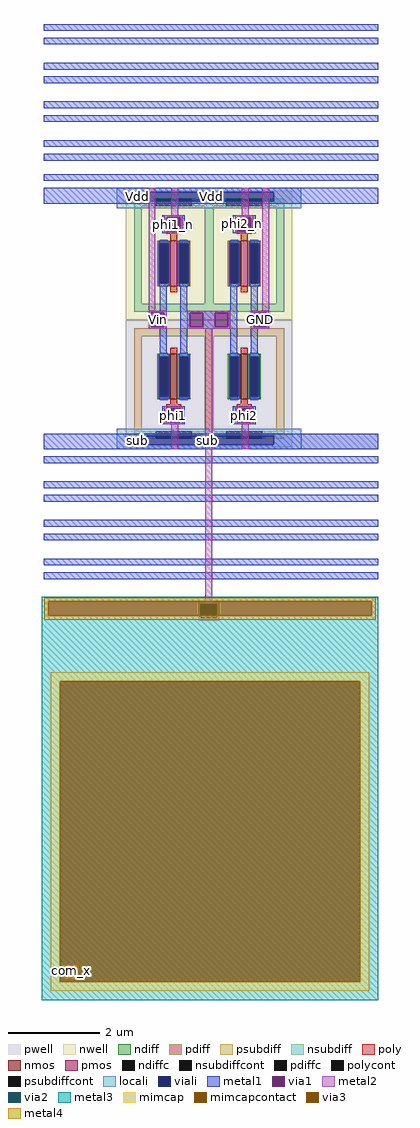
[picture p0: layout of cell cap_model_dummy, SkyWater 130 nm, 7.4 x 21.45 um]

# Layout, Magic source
magic
tech sky130A
magscale 1 2
<< pwell >>
rect 1140 -930 1160 -890
rect 1520 -950 1860 -880
<< locali >>
rect 710 180 1520 200
rect 710 140 840 180
rect 1080 140 1160 180
rect 1400 140 1520 180
rect 710 110 1520 140
rect 710 -890 1520 -860
rect 710 -930 840 -890
rect 1080 -930 1140 -890
rect 1400 -930 1520 -890
rect 710 -950 1520 -930
<< viali >>
rect 840 140 1080 180
rect 1160 140 1400 180
rect 840 -930 1080 -890
rect 1140 -930 1400 -890
<< metal1 >>
rect 390 890 1860 920
rect 390 830 1860 860
rect 390 720 1860 750
rect 390 660 1860 690
rect 390 550 1860 580
rect 390 490 1860 520
rect 390 380 1860 410
rect 390 320 1860 350
rect 390 230 1860 260
rect 390 180 1860 200
rect 390 140 840 180
rect 1080 140 1160 180
rect 1400 140 1860 180
rect 390 130 1860 140
rect 910 70 1010 80
rect 910 10 930 70
rect 990 10 1010 70
rect 910 0 1010 10
rect 1220 70 1320 80
rect 1220 10 1240 70
rect 1300 10 1320 70
rect 1220 0 1320 10
rect 900 -340 930 -220
rect 850 -350 930 -340
rect 850 -410 860 -350
rect 920 -410 930 -350
rect 850 -420 930 -410
rect 900 -540 930 -420
rect 990 -340 1020 -220
rect 1210 -340 1240 -220
rect 990 -350 1240 -340
rect 990 -410 1030 -350
rect 1090 -410 1140 -350
rect 1200 -410 1240 -350
rect 990 -420 1240 -410
rect 990 -540 1020 -420
rect 1210 -540 1240 -420
rect 1300 -340 1330 -220
rect 1300 -350 1380 -340
rect 1300 -410 1310 -350
rect 1370 -410 1380 -350
rect 1300 -420 1380 -410
rect 1300 -540 1330 -420
rect 910 -770 1010 -760
rect 910 -830 930 -770
rect 990 -830 1010 -770
rect 910 -840 1010 -830
rect 1220 -770 1320 -760
rect 1220 -830 1240 -770
rect 1300 -830 1320 -770
rect 1220 -840 1320 -830
rect 390 -890 1860 -880
rect 390 -930 840 -890
rect 1080 -930 1140 -890
rect 1400 -930 1860 -890
rect 390 -950 1860 -930
rect 390 -1010 1860 -980
rect 390 -1120 1860 -1090
rect 390 -1180 1860 -1150
rect 390 -1290 1860 -1260
rect 390 -1350 1860 -1320
rect 390 -1460 1860 -1430
rect 390 -1520 1860 -1490
<< via1 >>
rect 930 10 990 70
rect 1240 10 1300 70
rect 860 -410 920 -350
rect 1030 -410 1090 -350
rect 1140 -410 1200 -350
rect 1310 -410 1370 -350
rect 930 -830 990 -770
rect 1240 -830 1300 -770
<< metal2 >>
rect 850 -340 880 200
rect 950 80 980 200
rect 1260 80 1290 200
rect 920 70 1000 80
rect 920 10 930 70
rect 990 10 1000 70
rect 920 0 1000 10
rect 1230 70 1310 80
rect 1230 10 1240 70
rect 1300 10 1310 70
rect 1230 0 1310 10
rect 1350 -340 1380 200
rect 850 -350 930 -340
rect 850 -410 860 -350
rect 920 -410 930 -350
rect 850 -420 930 -410
rect 1020 -350 1210 -340
rect 1020 -410 1030 -350
rect 1090 -410 1140 -350
rect 1200 -410 1210 -350
rect 1020 -420 1210 -410
rect 1300 -350 1380 -340
rect 1300 -410 1310 -350
rect 1370 -410 1380 -350
rect 1300 -420 1380 -410
rect 920 -770 1000 -760
rect 920 -830 930 -770
rect 990 -830 1000 -770
rect 920 -840 1000 -830
rect 950 -950 980 -840
rect 1100 -1620 1130 -420
rect 1230 -770 1310 -760
rect 1230 -830 1240 -770
rect 1300 -830 1310 -770
rect 1230 -840 1310 -830
rect 1260 -950 1290 -840
rect 1070 -1630 1160 -1620
rect 1070 -1690 1080 -1630
rect 1150 -1690 1160 -1630
rect 1070 -1700 1160 -1690
<< via2 >>
rect 1080 -1690 1150 -1630
<< metal4 >>
rect 471 -3280 541 -3210
use sky130_fd_pr__cap_mim_m3_1_BZXSER  sky130_fd_pr__cap_mim_m3_1_BZXSER_0 /home/imasha
transform 0 1 1120 1 0 -2484
box -886 -740 886 740
use sky130_fd_pr__nfet_01v8_5WU4M2  sky130_fd_pr__nfet_01v8_5WU4M2_0 ~/final
transform -1 0 1271 0 -1 -661
box -211 -279 211 279
use sky130_fd_pr__pfet_01v8_QKK3FL  sky130_fd_pr__pfet_01v8_QKK3FL_0 ~/final
transform -1 0 1271 0 -1 -96
box -211 -284 211 284
use sky130_fd_pr__pfet_01v8_NKK3FE  XM1 ~/final
transform 1 0 961 0 1 -96
box -211 -284 211 284
use sky130_fd_pr__nfet_01v8_5WP7M2  XM2 ~/final
transform 1 0 961 0 1 -661
box -211 -279 211 279
<< labels >>
flabel metal1 770 -940 830 -880 0 FreeSans 256 0 0 0 sub
port 6 nsew
flabel metal1 1080 -940 1140 -880 0 FreeSans 256 0 0 0 sub
port 1 nsew
flabel metal1 862 -408 922 -348 0 FreeSans 256 0 0 0 Vin
port 5 nsew
flabel metal1 1312 -408 1372 -348 0 FreeSans 256 0 0 0 GND
port 9 nsew
flabel metal1 928 8 988 68 0 FreeSans 256 0 0 0 phi1_n
port 4 nsew
flabel metal1 1234 12 1294 72 0 FreeSans 256 0 0 0 phi2_n
port 10 nsew
flabel via1 930 -830 990 -770 0 FreeSans 256 0 0 0 phi1
port 2 nsew
flabel via1 1240 -830 1300 -770 0 FreeSans 256 0 0 0 phi2
port 8 nsew
flabel metal4 481 -3270 541 -3210 0 FreeSans 256 0 0 0 com_x
port 0 nsew
flabel metal1 1100 130 1150 190 0 FreeSans 256 0 0 0 Vdd
port 7 nsew
flabel metal1 770 130 830 190 0 FreeSans 256 0 0 0 Vdd
port 3 nsew
<< end >>

# cell sky130_fd_pr__cap_mim_m3_1_BZXSER: kit device sky130_fd_pr__cap_mim_m3_1, w 7.00 l 7.00 val 103.32 carea 2.00 cperi 0.19 nx 1 ny 1 dummy 0 square 0 lmin 2.00 wmin 2.00 lmax 30.0 wmax 30.0 dc 0 bconnect 1 tconnect 1 ccov 100

# cell sky130_fd_pr__nfet_01v8_5WU4M2: kit device sky130_fd_pr__nfet_01v8, w 1.0 l 0.15 m 1 nf 1 diffcov 100 polycov 100 guard 1 glc 0 grc 0 gtc 1 gbc 0 tbcov 100 rlcov 100 topc 1 botc 0 poverlap 0 doverlap 1 lmin 0.15 wmin 0.42 compatible {sky130_fd_pr__nfet_01v8 sky130_fd_pr__nfet_01v8_lvt sky130_fd_bs_flash__special_sonosfet_star sky130_fd_pr__nfet_g5v0d10v5 sky130_fd_pr__nfet_05v0_nvt sky130_fd_pr__nfet_03v3_nvt} full_metal 0 viasrc 100 viadrn 100 viagate 100 viagb 0 viagr 0 viagl 0 viagt 0

# cell sky130_fd_pr__pfet_01v8_QKK3FL: kit device sky130_fd_pr__pfet_01v8, w 1.0 l 0.15 m 1 nf 1 diffcov 100 polycov 100 guard 1 glc 0 grc 0 gtc 0 gbc 1 tbcov 100 rlcov 100 topc 0 botc 1 poverlap 0 doverlap 1 lmin 0.15 wmin 0.42 compatible {sky130_fd_pr__pfet_01v8 sky130_fd_pr__pfet_01v8_lvt sky130_fd_pr__pfet_01v8_hvt sky130_fd_pr__pfet_g5v0d10v5} full_metal 0 viasrc 100 viadrn 100 viagate 100 viagb 0 viagr 0 viagl 0 viagt 0

# cell sky130_fd_pr__pfet_01v8_NKK3FE: kit device sky130_fd_pr__pfet_01v8, w 1.0 l 0.15 m 1 nf 1 diffcov 100 polycov 100 guard 1 glc 0 grc 0 gtc 1 gbc 0 tbcov 100 rlcov 100 topc 1 botc 0 poverlap 0 doverlap 1 lmin 0.15 wmin 0.42 compatible {sky130_fd_pr__pfet_01v8 sky130_fd_pr__pfet_01v8_lvt sky130_fd_pr__pfet_01v8_hvt sky130_fd_pr__pfet_g5v0d10v5} full_metal 0 viasrc 100 viadrn 100 viagate 100 viagb 0 viagr 0 viagl 0 viagt 0

# cell sky130_fd_pr__nfet_01v8_5WP7M2: kit device sky130_fd_pr__nfet_01v8, w 1.0 l 0.15 m 1 nf 1 diffcov 100 polycov 100 guard 1 glc 0 grc 0 gtc 0 gbc 1 tbcov 100 rlcov 100 topc 0 botc 1 poverlap 0 doverlap 1 lmin 0.15 wmin 0.42 compatible {sky130_fd_pr__nfet_01v8 sky130_fd_pr__nfet_01v8_lvt sky130_fd_bs_flash__special_sonosfet_star sky130_fd_pr__nfet_g5v0d10v5 sky130_fd_pr__nfet_05v0_nvt sky130_fd_pr__nfet_03v3_nvt} full_metal 0 viasrc 100 viadrn 100 viagate 100 viagb 0 viagr 0 viagl 0 viagt 0
